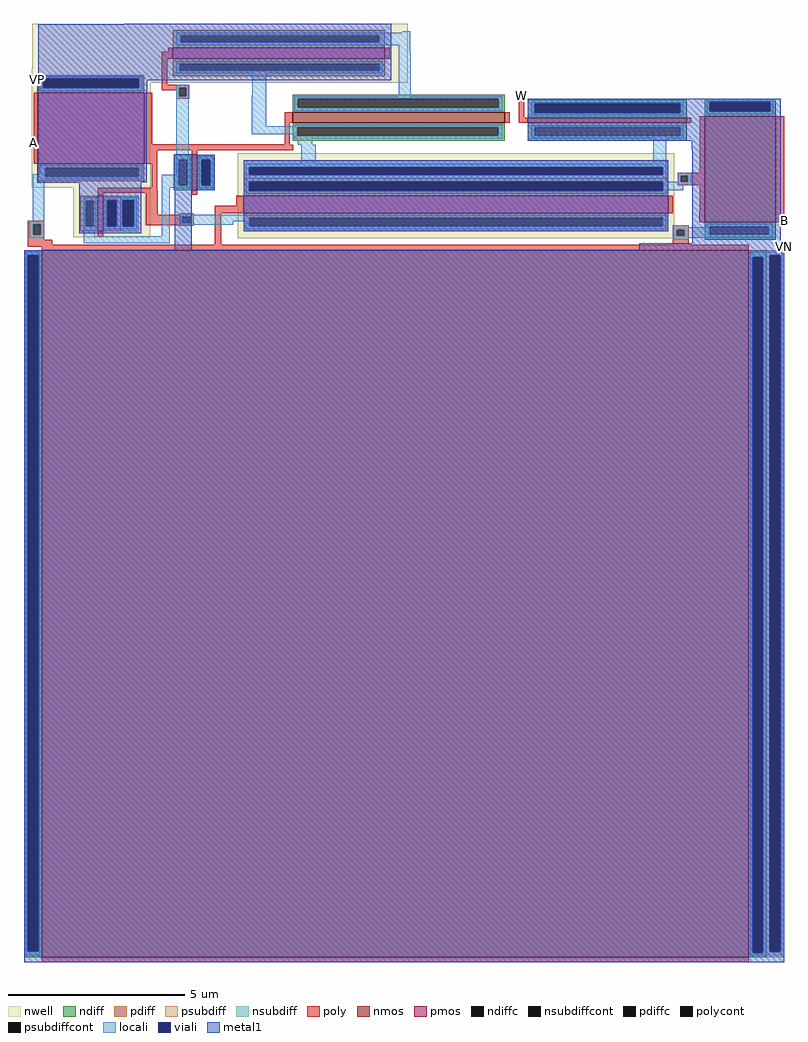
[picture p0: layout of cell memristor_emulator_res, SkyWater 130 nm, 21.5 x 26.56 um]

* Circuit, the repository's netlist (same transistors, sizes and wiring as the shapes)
* NGSPICE file created from memristor_emulator_res.ext - technology: sky130A

X0 VN B a_n80_4020# VN sky130_fd_pr__nfet_01v8 ad=1 pd=5 as=1 ps=5 w=2 l=3
X1 VN a_n80_4020# VN VN sky130_fd_pr__nfet_01v8 ad=10 pd=41 as=23.8 ps=100 w=20 l=20
X2 VP A a_n80_4020# VP sky130_fd_pr__pfet_01v8 ad=1.5 pd=7 as=1.5 ps=7 w=3 l=2
X3 B a_n80_4020# A B sky130_fd_pr__pfet_01v8 ad=6 pd=25 as=6 ps=25 w=12 l=0.5
X4 VP A a_218_4108# VP sky130_fd_pr__pfet_01v8 ad=0.5 pd=3 as=0.5 ps=3 w=1 l=0.15
X5 a_742_5144# A B VN sky130_fd_pr__nfet_01v8 ad=3 pd=13 as=3 ps=13 w=6 l=0.3
X6 a_742_5144# a_218_4108# B VP sky130_fd_pr__pfet_01v8 ad=3 pd=13 as=3 ps=13 w=6 l=0.3
X7 VN A a_218_4108# VN sky130_fd_pr__nfet_01v8 ad=0.5 pd=3 as=0.5 ps=3 w=1 l=0.15
X8 VN W B VN sky130_fd_pr__nfet_01v8 ad=2.25 pd=10 as=2.25 ps=10 w=4.5 l=0.15
.ends

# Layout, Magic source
magic
tech sky130A
<< nwell >>
rect -27 2513 1035 2641
rect -28 2474 1035 2513
rect -28 2177 308 2474
rect 89 2036 307 2177
rect 554 2034 1790 2274
<< nmos >>
rect 710 2360 1310 2390
rect 1375 2360 1825 2375
rect 425 2170 440 2270
rect 1876 2079 2076 2379
rect 0 0 2000 2000
<< pmos >>
rect 371 2542 971 2572
rect -10 2245 290 2445
rect 159 2054 174 2154
rect 572 2104 1772 2154
<< ndiff >>
rect 710 2428 1310 2440
rect 710 2403 724 2428
rect 1293 2403 1310 2428
rect 710 2390 1310 2403
rect 1375 2413 1825 2425
rect 1375 2389 1395 2413
rect 1807 2389 1825 2413
rect 1375 2375 1825 2389
rect 1876 2419 2076 2429
rect 1876 2393 1890 2419
rect 2061 2393 2076 2419
rect 1876 2379 2076 2393
rect 710 2348 1310 2360
rect 710 2323 723 2348
rect 1292 2323 1310 2348
rect 710 2310 1310 2323
rect 1375 2347 1825 2360
rect 1375 2323 1395 2347
rect 1807 2323 1825 2347
rect 1375 2310 1825 2323
rect 375 2256 425 2270
rect 375 2184 388 2256
rect 412 2184 425 2256
rect 375 2170 425 2184
rect 440 2256 490 2270
rect 440 2184 453 2256
rect 477 2184 490 2256
rect 440 2170 490 2184
rect 1876 2066 2076 2079
rect 1876 2045 1890 2066
rect 2057 2045 2076 2066
rect 1876 2029 2076 2045
rect -50 1983 0 2000
rect -50 16 -38 1983
rect -10 16 0 1983
rect -50 0 0 16
rect 2000 1980 2050 2000
rect 2000 13 2012 1980
rect 2040 13 2050 1980
rect 2000 0 2050 13
<< pdiff >>
rect 371 2608 971 2622
rect 371 2588 393 2608
rect 955 2588 971 2608
rect 371 2572 971 2588
rect -10 2485 290 2495
rect -10 2460 5 2485
rect 275 2460 290 2485
rect -10 2445 290 2460
rect 371 2528 971 2542
rect 371 2508 390 2528
rect 957 2508 971 2528
rect 371 2492 971 2508
rect -10 2233 290 2245
rect -10 2208 10 2233
rect 274 2208 290 2233
rect -10 2195 290 2208
rect 572 2194 1772 2204
rect 109 2140 159 2154
rect 109 2068 125 2140
rect 148 2068 159 2140
rect 109 2054 159 2068
rect 174 2141 224 2154
rect 174 2068 185 2141
rect 213 2068 224 2141
rect 572 2169 587 2194
rect 1757 2169 1772 2194
rect 572 2154 1772 2169
rect 174 2054 224 2068
rect 572 2092 1772 2104
rect 572 2067 587 2092
rect 1757 2067 1772 2092
rect 572 2054 1772 2067
<< ndiffc >>
rect 724 2403 1293 2428
rect 1395 2389 1807 2413
rect 1890 2393 2061 2419
rect 723 2323 1292 2348
rect 1395 2323 1807 2347
rect 388 2184 412 2256
rect 453 2184 477 2256
rect 1890 2045 2057 2066
rect -38 16 -10 1983
rect 2012 13 2040 1980
<< pdiffc >>
rect 393 2588 955 2608
rect 5 2460 275 2485
rect 390 2508 957 2528
rect 10 2208 274 2233
rect 125 2068 148 2140
rect 185 2068 213 2141
rect 587 2169 1757 2194
rect 587 2067 1757 2092
<< psubdiff >>
rect 2050 1985 2100 2000
rect 2050 15 2060 1985
rect 2090 15 2100 1985
rect 2050 0 2100 15
<< nsubdiff >>
rect 572 2234 1772 2255
rect 572 2213 587 2234
rect 1757 2213 1772 2234
rect 572 2204 1772 2213
rect 224 2141 274 2154
rect 224 2068 230 2141
rect 261 2068 274 2141
rect 224 2054 274 2068
<< psubdiffcont >>
rect 2060 15 2090 1985
<< nsubdiffcont >>
rect 587 2213 1757 2234
rect 230 2068 261 2141
<< poly >>
rect 358 2561 371 2572
rect 340 2542 371 2561
rect 971 2542 985 2572
rect 340 2468 355 2542
rect 340 2460 417 2468
rect 340 2453 389 2460
rect -23 2245 -10 2445
rect 290 2299 313 2445
rect 381 2436 389 2453
rect 409 2436 417 2460
rect 381 2428 417 2436
rect 687 2360 710 2390
rect 1310 2360 1324 2390
rect 1350 2375 1365 2437
rect 1350 2360 1375 2375
rect 1825 2360 1838 2375
rect 687 2299 702 2360
rect 290 2298 702 2299
rect 290 2283 712 2298
rect 290 2245 327 2283
rect 425 2282 712 2283
rect 425 2270 440 2282
rect 312 2177 327 2245
rect 159 2167 327 2177
rect 1861 2219 1876 2379
rect 159 2162 328 2167
rect 159 2154 174 2162
rect -40 2073 7 2083
rect -40 2043 -24 2073
rect -2 2043 7 2073
rect 295 2100 328 2162
rect 425 2157 440 2170
rect 1799 2211 1876 2219
rect 1799 2193 1808 2211
rect 1828 2193 1876 2211
rect 1799 2183 1876 2193
rect 551 2125 572 2154
rect 490 2105 572 2125
rect 390 2100 430 2105
rect 295 2095 430 2100
rect 295 2078 398 2095
rect 422 2078 430 2095
rect 295 2071 430 2078
rect 390 2069 430 2071
rect -40 2030 7 2043
rect 159 2038 174 2054
rect -40 2015 30 2030
rect 490 2015 508 2105
rect 551 2104 572 2105
rect 1772 2104 1785 2154
rect 1861 2104 1876 2183
rect 1860 2080 1876 2104
rect 1861 2079 1876 2080
rect 2076 2079 2100 2379
rect 1785 2058 1830 2070
rect 1785 2041 1796 2058
rect 1818 2041 1830 2058
rect 1785 2015 1830 2041
rect -40 2010 2000 2015
rect 0 2000 2000 2010
rect 0 -15 2000 0
<< polycont >>
rect 389 2436 409 2460
rect -24 2043 -2 2073
rect 1808 2193 1828 2211
rect 398 2078 422 2095
rect 1796 2041 1818 2058
<< locali >>
rect 1020 2615 1043 2619
rect 380 2608 1043 2615
rect 380 2588 393 2608
rect 955 2588 1043 2608
rect 380 2580 1043 2588
rect 1010 2557 1043 2580
rect 380 2528 965 2535
rect 380 2508 390 2528
rect 957 2508 965 2528
rect 380 2500 965 2508
rect -5 2485 285 2491
rect -5 2460 5 2485
rect 275 2460 285 2485
rect -5 2450 285 2460
rect 381 2460 416 2468
rect 381 2436 389 2460
rect 409 2436 416 2460
rect 595 2439 635 2500
rect 381 2265 416 2436
rect 594 2351 636 2439
rect 1010 2435 1044 2557
rect 715 2428 1305 2435
rect 715 2403 724 2428
rect 1293 2403 1305 2428
rect 1882 2419 2070 2423
rect 715 2395 1305 2403
rect 1385 2414 1815 2418
rect 1385 2389 1395 2414
rect 1807 2389 1815 2414
rect 1385 2382 1815 2389
rect 1882 2393 1890 2419
rect 2061 2393 2070 2419
rect 1882 2385 2070 2393
rect 715 2351 1305 2355
rect 594 2348 1305 2351
rect 594 2328 723 2348
rect 715 2323 723 2328
rect 1292 2323 1305 2348
rect 715 2315 1305 2323
rect 1385 2347 1815 2353
rect 1385 2323 1395 2347
rect 1807 2323 1815 2347
rect 1385 2317 1815 2323
rect 725 2298 765 2315
rect 380 2256 420 2265
rect -5 2233 285 2240
rect -5 2215 10 2233
rect -25 2208 10 2215
rect 274 2208 285 2233
rect 380 2214 388 2256
rect -25 2200 285 2208
rect -25 2083 7 2200
rect 340 2184 388 2214
rect 412 2184 420 2256
rect 340 2176 420 2184
rect -35 2073 7 2083
rect -35 2043 -24 2073
rect -2 2043 7 2073
rect -35 2033 7 2043
rect 119 2140 154 2149
rect 119 2068 125 2140
rect 148 2068 154 2140
rect 119 2059 154 2068
rect 179 2141 269 2149
rect 179 2068 185 2141
rect 213 2068 230 2141
rect 261 2068 269 2141
rect 179 2059 269 2068
rect 119 2040 150 2059
rect 340 2040 363 2176
rect 380 2175 420 2176
rect 445 2256 485 2265
rect 445 2184 453 2256
rect 477 2184 485 2256
rect 735 2244 775 2298
rect 1730 2244 1767 2317
rect 577 2234 1767 2244
rect 577 2213 587 2234
rect 1757 2213 1767 2234
rect 577 2201 1767 2213
rect 445 2175 485 2184
rect 578 2194 1767 2201
rect 578 2168 587 2194
rect 1757 2193 1767 2194
rect 1799 2211 1837 2219
rect 1799 2193 1808 2211
rect 1828 2193 1837 2211
rect 1757 2184 1837 2193
rect 1757 2169 1815 2184
rect 1757 2168 1767 2169
rect 578 2159 1767 2168
rect 390 2100 430 2105
rect 390 2099 580 2100
rect 390 2095 1767 2099
rect 390 2078 398 2095
rect 422 2092 1767 2095
rect 422 2082 587 2092
rect 422 2078 542 2082
rect 390 2072 542 2078
rect 390 2069 430 2072
rect 577 2067 587 2082
rect 1757 2067 1767 2092
rect 577 2059 1767 2067
rect 1785 2065 1830 2070
rect 1881 2066 2068 2075
rect 1881 2065 1890 2066
rect 119 2020 363 2040
rect 1785 2058 1890 2065
rect 1785 2041 1796 2058
rect 1818 2045 1890 2058
rect 2057 2045 2068 2066
rect 1818 2041 2068 2045
rect 1785 2035 2068 2041
rect 1785 2030 1830 2035
rect -45 1986 -5 1995
rect -45 16 -40 1986
rect -10 16 -5 1986
rect -45 5 -5 16
rect 2005 1985 2095 1995
rect 2005 1980 2060 1985
rect 2005 13 2012 1980
rect 2040 15 2060 1980
rect 2090 15 2095 1985
rect 2040 13 2095 15
rect 2005 5 2095 13
<< viali >>
rect 5 2460 275 2485
rect 1395 2413 1807 2414
rect 1395 2389 1807 2413
rect 1890 2393 2061 2419
rect 185 2068 211 2141
rect 230 2068 261 2141
rect 453 2184 477 2256
rect 587 2213 1757 2234
rect 587 2169 1757 2194
rect 587 2168 1757 2169
rect -40 1983 -10 1986
rect -40 16 -38 1983
rect -38 16 -10 1983
rect 2012 13 2040 1980
rect 2060 15 2090 1985
<< metal1 >>
rect 234 2639 989 2641
rect -10 2495 989 2639
rect -13 2485 989 2495
rect -13 2460 5 2485
rect 275 2481 989 2485
rect 275 2460 298 2481
rect -13 2446 298 2460
rect -13 2192 297 2446
rect 1375 2419 2091 2429
rect 1375 2414 1890 2419
rect 1375 2389 1395 2414
rect 1807 2393 1890 2414
rect 2061 2393 2091 2419
rect 1807 2389 2091 2393
rect 1375 2310 2091 2389
rect 1839 2284 2091 2310
rect 377 2270 424 2271
rect 374 2256 490 2270
rect -13 2190 281 2192
rect 107 2141 281 2190
rect 374 2184 453 2256
rect 477 2184 490 2256
rect 374 2169 490 2184
rect 571 2234 1772 2255
rect 571 2213 587 2234
rect 1757 2213 1772 2234
rect 571 2194 1772 2213
rect 107 2068 185 2141
rect 211 2068 230 2141
rect 261 2068 281 2141
rect 107 2048 281 2068
rect 377 2000 424 2169
rect 571 2168 587 2194
rect 1757 2168 1772 2194
rect 571 2054 1772 2168
rect 1840 2019 2091 2284
rect 1690 2000 2100 2019
rect -50 1986 2100 2000
rect -50 16 -40 1986
rect -10 1985 2100 1986
rect -10 1980 2060 1985
rect -10 16 2012 1980
rect -50 13 2012 16
rect 2040 15 2060 1980
rect 2090 15 2100 1985
rect 2040 13 2100 15
rect -50 -15 2100 13
<< labels >>
rlabel poly 1358 2437 1358 2437 1 W
port 1 n
rlabel poly 2100 2083 2100 2083 3 B
port 3 e
rlabel metal1 2100 2010 2100 2010 7 VN
port 2 w
rlabel poly -23 2304 -23 2304 7 A
port 4 w
rlabel metal1 -13 2484 -13 2484 7 VP
port 5 w
<< end >>
